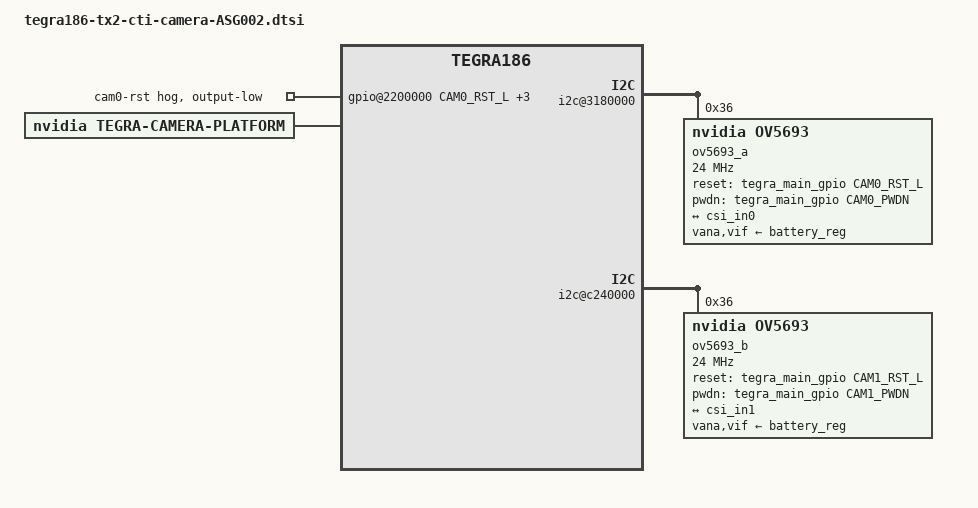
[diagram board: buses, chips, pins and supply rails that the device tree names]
    

#include <t18x-common-platforms/tegra186-tx2-cti-camera-base.dtsi>
#include "dt-bindings/clock/tegra186-clock.h"


/* camera control gpio definitions */
#define CAM0_RST_L  TEGRA_MAIN_GPIO(R, 5)
#define CAM0_PWDN   TEGRA_MAIN_GPIO(R, 0)
#define CAM1_RST_L  TEGRA_MAIN_GPIO(R, 1)
#define CAM1_PWDN   TEGRA_MAIN_GPIO(N, 2)

/ {
    gpio@2200000 {
        camera-control-output-low {
            gpio-hog;
            output-low;
            gpios = <CAM0_RST_L 0 CAM0_PWDN 0 CAM1_RST_L 0 CAM1_PWDN 0>;
            label = "cam0-rst", "cam0-pwdn, cam1-rst, cam1-pwdn";
            status = "okay";
        };
    };
	i2c@3180000 {       //set this to correct i2c bus
		ov5693_a@36 {   //set this to the correct channel ie ov5693_e is CSI channel 4
            compatible = "nvidia,ov5693";
            reg = <0x36>;
            devnode = "video0";     //set the video#
            /* Physical dimensions of sensor */
            physical_w = "3.674";
            physical_h = "2.738";

            /* Define any required hw resources needed by driver */
            /* ie. clocks, io pins, power sources */
            avdd-reg = "vana";
            iovdd-reg = "vif";

            /* Sensor output flip settings */
            vertical-flip = "true";

			clocks = <&tegra_car TEGRA186_CLK_EXTPERIPH1>,
					 <&tegra_car TEGRA186_CLK_PLLP_OUT0>;
			clock-names = "extperiph1", "pllp_grtba";
			mclk = "extperiph1";
			clock-frequency = <24000000>;
			reset-gpios = <&tegra_main_gpio CAM0_RST_L GPIO_ACTIVE_HIGH>;   //set the GPIOs
			pwdn-gpios = <&tegra_main_gpio CAM0_PWDN GPIO_ACTIVE_HIGH>;
//			vana-supply = <&en_vdd_cam_hv_2v8>;
//			vif-supply = <&en_vdd_cam>;
			vana-supply = <&battery_reg>;
			vif-supply = <&battery_reg>;
            status = "okay";

            mode0 { // OV5693_MODE_2592X1944
                mclk_khz = "24000";
                num_lanes = "2";
                tegra_sinterface = "serial_a";
                discontinuous_clk = "no";
                dpcm_enable = "false";
                cil_settletime = "0";

                active_w = "2592";
                active_h = "1944";
                pixel_t = "bayer_bggr";
                readout_orientation = "90";
                line_length = "2688";
                inherent_gain = "1";
                mclk_multiplier = "6.67";
                pix_clk_hz = "160000000";

                min_gain_val = "1.0";
                max_gain_val = "16";
                min_hdr_ratio = "1";
                max_hdr_ratio = "64";
                min_framerate = "1.816577";
                max_framerate = "30";
                min_exp_time = "34";
                max_exp_time = "550385";
            };
            mode1 { //OV5693_MODE_2592X1458
                mclk_khz = "24000";
                num_lanes = "2";
                tegra_sinterface = "serial_a";  //set the proper serial interface for the CSI number e = CSI 4 etc
                discontinuous_clk = "no";
                dpcm_enable = "false";
                cil_settletime = "0";

                active_w = "2592";
                active_h = "1458";
                pixel_t = "bayer_bggr";
                readout_orientation = "90";
                line_length = "2688";
                inherent_gain = "1";
                mclk_multiplier = "6.67";
                pix_clk_hz = "160000000";

                min_gain_val = "1.0";
                max_gain_val = "16";
                min_hdr_ratio = "1";
                max_hdr_ratio = "64";
                min_framerate = "1.816577";
                max_framerate = "30";
                min_exp_time = "34";
                max_exp_time = "550385";
            };
            mode2 { //OV5693_MODE_1280X720
                mclk_khz = "24000";
                num_lanes = "2";
                tegra_sinterface = "serial_a"; 
                discontinuous_clk = "no";
                dpcm_enable = "false";
                cil_settletime = "0";

                active_w = "1280";
                active_h = "720";
                pixel_t = "bayer_bggr";
                readout_orientation = "90";
                line_length = "1752";
                inherent_gain = "1";
                mclk_multiplier = "6.67";
                pix_clk_hz = "160000000";

                min_gain_val = "1.0";
                max_gain_val = "16";
                min_hdr_ratio = "1";
                max_hdr_ratio = "64";
                min_framerate = "2.787078";
                max_framerate = "120";
                min_exp_time = "22";
                max_exp_time = "358733";
            };

            ports {
                #address-cells = <1>;
                #size-cells = <0>;
                status = "okay";

                port@0 {
                    reg = <0>;
                    status = "okay";
                    ov5693_out0: endpoint {
                        status = "okay";
                        csi-port = <0>;     //set the CSI port #
                        bus-width = <2>;    //set the bus width
                        remote-endpoint = <&csi_in0>;     //should be CSI port# enpoint
                    };
                };
            };
        };
	};


	i2c@c240000 {       //set this to correct i2c bus
		ov5693_b@36 {   //set this to the correct channel ie ov5693_e is CSI channel 4
            compatible = "nvidia,ov5693";
            reg = <0x36>;
            devnode = "video1";     //set the video#
            /* Physical dimensions of sensor */
            physical_w = "3.674";
            physical_h = "2.738";

            /* Define any required hw resources needed by driver */
            /* ie. clocks, io pins, power sources */
            avdd-reg = "vana";
            iovdd-reg = "vif";

            /* Sensor output flip settings */
            vertical-flip = "true";

			clocks = <&tegra_car TEGRA186_CLK_EXTPERIPH2>,
					 <&tegra_car TEGRA186_CLK_PLLP_OUT0>;
			clock-names = "extperiph2", "pllp_grtba";
			mclk = "extperiph2";
			clock-frequency = <24000000>;
			reset-gpios = <&tegra_main_gpio CAM1_RST_L GPIO_ACTIVE_HIGH>;   //set the GPIOs
			pwdn-gpios = <&tegra_main_gpio CAM1_PWDN GPIO_ACTIVE_HIGH>;
//			vana-supply = <&en_vdd_cam_hv_2v8>;
//			vif-supply = <&en_vdd_cam>;
			vana-supply = <&battery_reg>;
			vif-supply = <&battery_reg>;
            status = "okay";

            mode0 { // OV5693_MODE_2592X1944
                mclk_khz = "24000";
                num_lanes = "2";
                tegra_sinterface = "serial_b";
                discontinuous_clk = "no";
                dpcm_enable = "false";
                cil_settletime = "0";

                active_w = "2592";
                active_h = "1944";
                pixel_t = "bayer_bggr";
                readout_orientation = "90";
                line_length = "2688";
                inherent_gain = "1";
                mclk_multiplier = "6.67";
                pix_clk_hz = "160000000";

                min_gain_val = "1.0";
                max_gain_val = "16";
                min_hdr_ratio = "1";
                max_hdr_ratio = "64";
                min_framerate = "1.816577";
                max_framerate = "30";
                min_exp_time = "34";
                max_exp_time = "550385";
            };
            mode1 { //OV5693_MODE_2592X1458
                mclk_khz = "24000";
                num_lanes = "2";
                tegra_sinterface = "serial_b";  //set the proper serial interface for the CSI number e = CSI 4 etc
                discontinuous_clk = "no";
                dpcm_enable = "false";
                cil_settletime = "0";

                active_w = "2592";
                active_h = "1458";
                pixel_t = "bayer_bggr";
                readout_orientation = "90";
                line_length = "2688";
                inherent_gain = "1";
                mclk_multiplier = "6.67";
                pix_clk_hz = "160000000";

                min_gain_val = "1.0";
                max_gain_val = "16";
                min_hdr_ratio = "1";
                max_hdr_ratio = "64";
                min_framerate = "1.816577";
                max_framerate = "30";
                min_exp_time = "34";
                max_exp_time = "550385";
            };
            mode2 { //OV5693_MODE_1280X720
                mclk_khz = "24000";
                num_lanes = "2";
                tegra_sinterface = "serial_b"; 
                discontinuous_clk = "no";
                dpcm_enable = "false";
                cil_settletime = "0";

                active_w = "1280";
                active_h = "720";
                pixel_t = "bayer_bggr";
                readout_orientation = "90";
                line_length = "1752";
                inherent_gain = "1";
                mclk_multiplier = "6.67";
                pix_clk_hz = "160000000";

                min_gain_val = "1.0";
                max_gain_val = "16";
                min_hdr_ratio = "1";
                max_hdr_ratio = "64";
                min_framerate = "2.787078";
                max_framerate = "120";
                min_exp_time = "22";
                max_exp_time = "358733";
            };

            ports {
                #address-cells = <1>;
                #size-cells = <0>;
                status = "okay";

                port@0 {
                    reg = <0>;
                    status = "okay";
                    ov5693_out1: endpoint {
                        status = "okay";
                        csi-port = <1>;     //set the CSI port #
                        bus-width = <2>;    //set the bus width
                        remote-endpoint = <&csi_in1>;     //should be CSI port# enpoint
                    };
                };
            };
        };
	};


    e3326_lens_ov5693@P5V27C {
        min_focus_distance = "0.0";
        hyper_focal = "0.0";
        focal_length = "2.67";
        f_number = "2.0";
        aperture = "2.0";
    };

     host1x {
        vi@15700000 {
            num-channels = <2>; //set number of channels
            status = "okay";
            ports {
                port@0 {
                    status = "okay";
                    reg = <0>;
                    endpoint {
                        status = "okay";
                        csi-port = <0>;
                        bus-width = <2>;
                        remote-endpoint = <&csi_out0>; 
                    };
                };
                port@1 {
                    status = "okay";
                    reg = <1>;
                    endpoint {
                        status = "okay";
                        csi-port = <1>;
                        bus-width = <2>;
                        remote-endpoint = <&csi_out1>; 
                    };
                };
            };
        };
        nvcsi@150c0000 {
            num-channels = <6>;
            channel@0 {
                status = "okay";
                ports {
                    port@0 {
                        status = "okay";
                        endpoint@0 {
                            csi-port = <0>;
                            bus-width = <2>;
                            remote-endpoint = <&ov5693_out0>; //should be sensor port under i2c endpoint
                            status = "okay";
                        };
                    };
                    port@1 {
                        status = "okay";
                        endpoint@1 {
                            status = "okay";
                            remote-endpoint = <&vi_in0>; 
                        };
                    };
                };
            };
            channel@1 {
                status = "okay";
                ports {
                    port@0 {
                        status = "okay";
                        endpoint@2 {
                            csi-port = <1>;
                            bus-width = <2>;
                            remote-endpoint = <&ov5693_out1>; //should be sensor port under i2c endpoint
                            status = "okay";
                        };
                    };
                    port@1 {
                        status = "okay";
                        endpoint@3 {
                            status = "okay";
                            remote-endpoint = <&vi_in1>; 
                        };
                    };
                };
            };
        };
    };

    tegra-camera-platform {
        compatible = "nvidia, tegra-camera-platform";

        status = "okay";
        num_csi_lanes = <4>;
        max_lane_speed = <1500000>;
        min_bits_per_pixel = <10>;
        vi_peak_byte_per_pixel = <2>;
        vi_bw_margin_pct = <25>;
        max_pixel_rate = <160000>;
        isp_peak_byte_per_pixel = <5>;
        isp_bw_margin_pct = <25>;
        modules {
            module0 {
                status = "okay";
                badge = "ov5693_front_P5V27C";
                position = "front";
                orientation = "1";
                drivernode0 {
                    /* Declare PCL support driver (classically known as guid)  */
                    status = "okay";
                    pcl_id = "v4l2_sensor";
                    /* Driver v4l2 device name */
                    devname = "ov5693 2-0036";  //set the bus and address of the sensor here 
                    /* Declare the device-tree hierarchy to driver instance */
                    proc-device-tree = "/proc/device-tree/i2c@3180000/ov5693_a@36"; //this has to match the camera driver node under i2c 
                };
                drivernode1 {
                    /* Declare PCL support driver (classically known as guid)  */
                    status = "okay";
                    pcl_id = "v4l2_lens";
                    proc-device-tree = "/proc/device-tree/e3326_lens_ov5693@P5V27C/";
                };
            };
            module1 {
                status = "okay";
                badge = "ov5693_rear_P5V27C";
                position = "rear";
                orientation = "2";
                drivernode0 {
                    /* Declare PCL support driver (classically known as guid)  */
                    status = "okay";
                    pcl_id = "v4l2_sensor";
                    /* Driver v4l2 device name */
                    devname = "ov5693 1-0036";  //set the bus and address of the sensor here 
                    /* Declare the device-tree hierarchy to driver instance */
                    proc-device-tree = "/proc/device-tree/i2c@c240000/ov5693_b@36"; //this has to match the camera driver node under i2c 
                };
                drivernode1 {
                    /* Declare PCL support driver (classically known as guid)  */
                    status = "okay";
                    pcl_id = "v4l2_lens";
                    proc-device-tree = "/proc/device-tree/e3326_lens_ov5693@P5V27C/";
                };
            };
        };
    };
};
